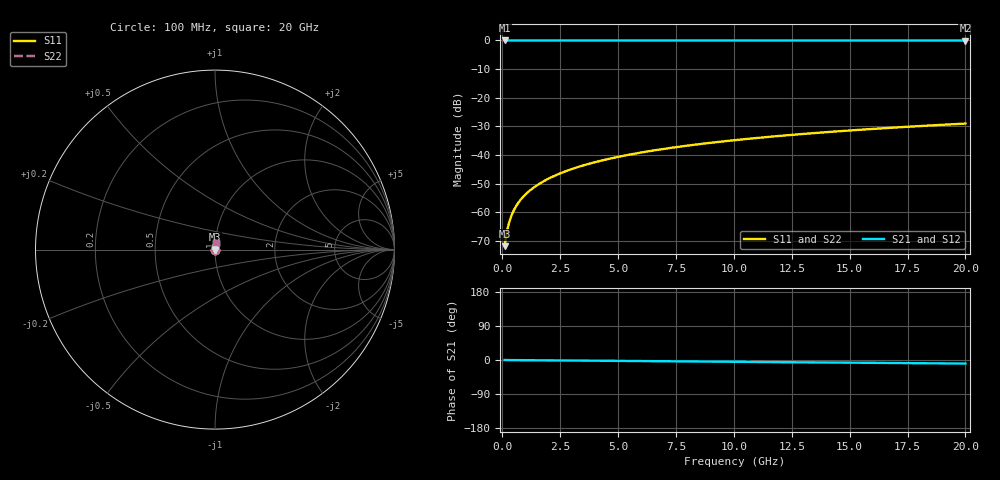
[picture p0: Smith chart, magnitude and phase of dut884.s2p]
! Touchstone file exported from HFSS 2026.1.0
!  File:  C:/ffzhzh/LocalFiles/Ansys_Project_Files/temp_train_TSV_884_1783185829_18472.aedt
!  Generated:  01:25:20 AM Jul  5, 2026
!  Design:  TSV
!  Project:  temp_train_TSV_884_1783185829_18472
! Variables:
!  h_bsmrdl = 2um
!  h_ox = 20um
!  h_rdl = 5um
!  h_sub = 89.59um
!  h_tmrdl = 5um
!  h_tsv = 89.59um
!  h_via = 3um
!  l_bsmrdl = 300um
!  l_sub = 420.9um
!  l_tmrdl = 200um
!  m_sub = 200um
!  pitch = 54.75um
!  r_tsv = 10.45um
!  s_tmrdl = 10um
!  w_bsmrdl = 18um
!  w_sub = 500um
!  w_tmrdl = 12um
!  x_tsv_center1 = 206um
!  x_tsv_center2 = 524um
!  x_tsv_center3 = 736um
!  x_tsv_center4 = 1054um
!  x_tsv_center5 = 1266um
!  x_tsv_center6 = 1584um
# GHz S MA R 50.000000
! Terminal data exported
! Port[1] = TSV1_1_T1
! Port[2] = TSV1_1_T2
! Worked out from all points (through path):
!   200 points, 100 MHz to 20 GHz, reference 50 ohm
!   highest |S21| = 0.00 dB at 100 MHz (marker M1); lowest = 0.0 dB at 20 GHz (marker M2)
!   group delay of S21, straight-line fit = 1.3 ps
!   lowest |S11| = -71.8 dB at 100 MHz (marker M3), VSWR 1.00, Z = 50 + j0.0222 ohm
!   |S11| at or under -10 dB: start of sweep to end of sweep
!   |S22| runs from -71.8 to -29.0 dB; largest |S21 - S12| = 4.3e-15
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0.1  0.0002558 60.2  0.9999 -0.0  0.9999 -0.0  0.0002558 60.2
! Gamma 0 0 0 0
! Port Impedance 50 0 50 0
0.2  0.0004628 72.5  0.9999 -0.1  0.9999 -0.1  0.0004628 72.5
0.3  0.0006747 76.4  0.9998 -0.1  0.9998 -0.1  0.0006747 76.4
0.4  0.0008835 78.1  0.9998 -0.2  0.9998 -0.2  0.0008835 78.1
0.5  0.001087 79.0  0.9998 -0.2  0.9998 -0.2  0.001087 79.0
0.6  0.001286 79.6  0.9998 -0.3  0.9998 -0.3  0.001286 79.6
0.7  0.001481 79.9  0.9997 -0.3  0.9997 -0.3  0.001481 79.9
0.9  0.00186 80.5  0.9997 -0.4  0.9997 -0.4  0.00186 80.5
1.1  0.002231 81.0  0.9997 -0.5  0.9997 -0.5  0.002231 81.0
1.3  0.002597 81.5  0.9996 -0.6  0.9996 -0.6  0.002597 81.5
1.6  0.003142 82.1  0.9996 -0.8  0.9996 -0.8  0.003142 82.1
1.9  0.003686 82.5  0.9996 -0.9  0.9996 -0.9  0.003686 82.5
2.6  0.004955 83.2  0.9995 -1.2  0.9995 -1.2  0.004955 83.2
3.5  0.006581 83.5  0.9994 -1.7  0.9994 -1.7  0.006581 83.5
4.2  0.00784 83.6  0.9994 -2.0  0.9994 -2.0  0.00784 83.6
5  0.009271 83.6  0.9993 -2.4  0.9993 -2.4  0.009271 83.6
6.8  0.01247 83.2  0.9991 -3.2  0.9991 -3.2  0.01247 83.2
8.3  0.01511 82.8  0.999 -3.9  0.999 -3.9  0.01511 82.8
10.1  0.01827 82.3  0.9989 -4.7  0.9989 -4.7  0.01827 82.3
13.4  0.02402 81.1  0.9986 -6.3  0.9986 -6.3  0.02402 81.1
16.7  0.02972 79.8  0.9984 -7.8  0.9984 -7.8  0.02972 79.8
20  0.03537 78.5  0.998 -9.4  0.998 -9.4  0.03537 78.5
